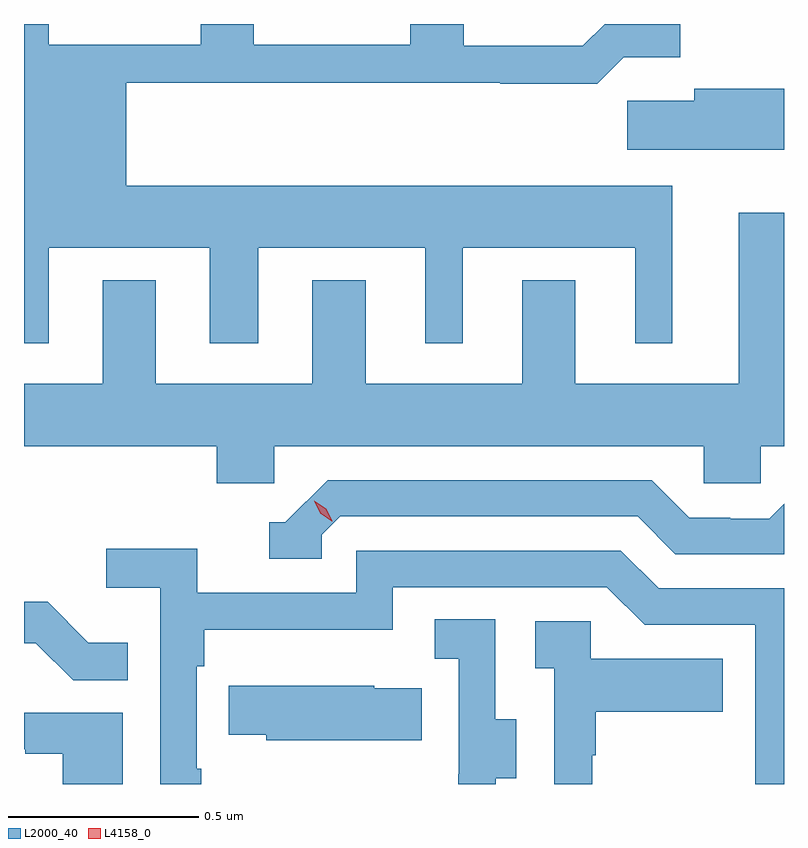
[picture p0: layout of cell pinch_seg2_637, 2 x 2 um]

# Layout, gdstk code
import gdstk
lib = gdstk.Library(unit=1e-6, precision=1e-09)
def P(c, l, *ps):  # polygons
    for p in ps: c.add(gdstk.Polygon(p, *l))
L2000_40 = (2000, 40)
L4158_0 = (4158, 0)

pinch_seg2_637 = lib.new_cell('pinch_seg2_637')
P(pinch_seg2_637, L2000_40, [(1020.229,618.854),(1020.653,618.854),(1020.653,618.603),(1020.781,618.603),(1020.781,618.854),(1021.22,618.854),(1021.22,618.603),(1021.318,618.603),(1021.318,618.854),(1021.772,618.854),(1021.772,618.603),(1021.87,618.603),(1021.87,619.018),(1020.433,619.018),(1020.433,619.288),(1021.417,619.288),(1021.417,619.286),(1021.673,619.286),(1021.742,619.355),(1021.891,619.355),(1021.891,619.443),(1021.692,619.443),(1021.635,619.386),(1021.321,619.386),(1021.321,619.443),(1021.181,619.443),(1021.181,619.389),(1020.769,619.389),(1020.769,619.443),(1020.629,619.443),(1020.629,619.389),(1020.229,619.389),(1020.229,619.443),(1020.164,619.443),(1020.164,618.603),(1020.229,618.603)],
  [(1022.164,619.273),(1021.928,619.273),(1021.928,619.241),(1021.752,619.241),(1021.752,619.112),(1022.164,619.112)],
  [(1020.822,618.332),(1021.953,618.332),(1021.953,618.234),(1022.103,618.234),(1022.103,618.332),(1022.164,618.332),(1022.164,618.946),(1022.045,618.946),(1022.045,618.496),(1021.615,618.496),(1021.615,618.769),(1021.475,618.769),(1021.475,618.496),(1021.063,618.496),(1021.063,618.769),(1020.923,618.769),(1020.923,618.496),(1020.511,618.496),(1020.511,618.769),(1020.371,618.769),(1020.371,618.496),(1020.164,618.496),(1020.164,618.332),(1020.671,618.332),(1020.671,618.234),(1020.822,618.234)],
  [(1020.948,618.099),(1020.996,618.147),(1021.779,618.147),(1021.878,618.048),(1022.164,618.048),(1022.164,618.181),(1022.125,618.141),(1022.022,618.141),(1022.022,618.144),(1021.915,618.144),(1021.816,618.243),(1020.963,618.243),(1020.852,618.132),(1020.809,618.132),(1020.809,618.036),(1020.948,618.036)],
  [(1020.631,617.483),(1020.618,617.483),(1020.618,617.753),(1020.638,617.753),(1020.638,617.849),(1021.134,617.849),(1021.134,617.961),(1021.698,617.961),(1021.797,617.862),(1022.088,617.862),(1022.088,617.443),(1022.164,617.443),(1022.164,617.958),(1021.834,617.958),(1021.735,618.057),(1021.038,618.057),(1021.038,617.946),(1020.62,617.946),(1020.62,618.062),(1020.381,618.062),(1020.381,617.96),(1020.522,617.96),(1020.522,617.443),(1020.631,617.443)],
  [(1020.437,617.815),(1020.333,617.815),(1020.226,617.922),(1020.164,617.922),(1020.164,617.814),(1020.195,617.814),(1020.293,617.716),(1020.437,617.716)],
  [(1021.405,617.458),(1021.459,617.458),(1021.459,617.613),(1021.404,617.613),(1021.404,617.876),(1021.245,617.876),(1021.245,617.773),(1021.308,617.773),(1021.308,617.469),(1021.307,617.469),(1021.307,617.443),(1021.405,617.443)],
  [(1021.659,617.519),(1021.669,617.519),(1021.669,617.633),(1022.003,617.633),(1022.003,617.773),(1021.656,617.773),(1021.656,617.871),(1021.509,617.871),(1021.509,617.747),(1021.56,617.747),(1021.56,617.443),(1021.659,617.443)],
  [(1021.211,617.695),(1021.086,617.695),(1021.086,617.701),(1020.703,617.701),(1020.703,617.572),(1020.801,617.572),(1020.801,617.558),(1021.211,617.558)],
  [(1020.424,617.631),(1020.164,617.631),(1020.164,617.535),(1020.167,617.535),(1020.167,617.523),(1020.266,617.523),(1020.266,617.443),(1020.424,617.443)])
P(pinch_seg2_637, L4158_0, [(1020.974,618.135),(1020.944,618.155),(1020.928,618.187),(1020.928,618.188),(1020.928,618.188),(1020.959,618.168),(1020.975,618.135),(1020.975,618.135)])

lib.write_gds('pinch_seg2_637.gds')
